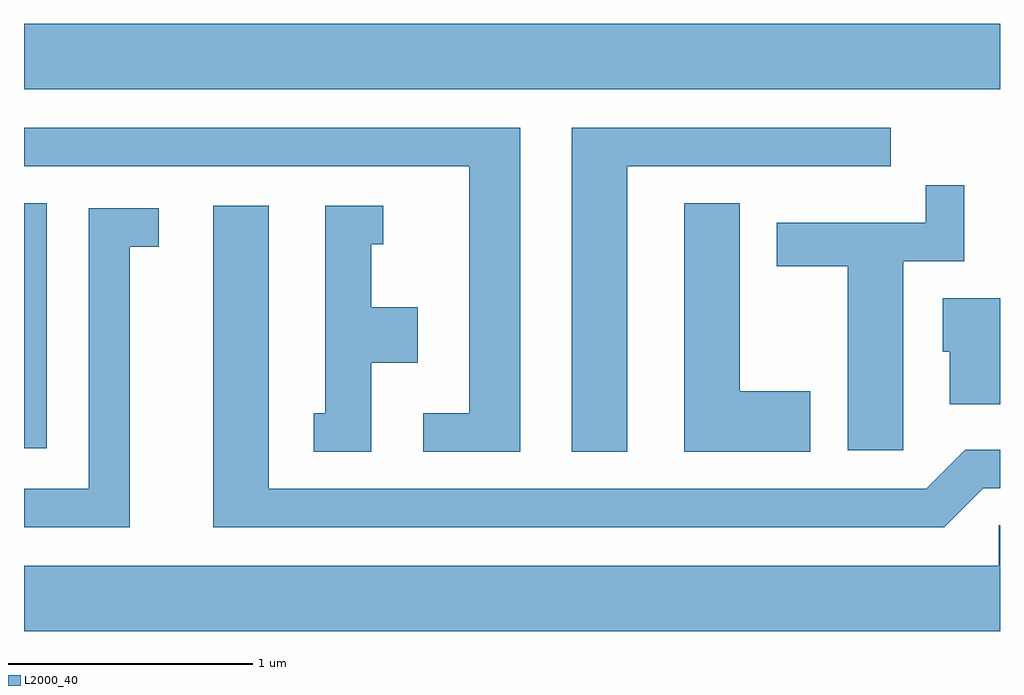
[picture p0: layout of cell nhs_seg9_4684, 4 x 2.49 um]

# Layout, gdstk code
import gdstk
lib = gdstk.Library(unit=1e-6, precision=1e-09)
def R(c, l, rs):  # rectangles x0, y0, x1, y1
    for r in rs: c.add(gdstk.rectangle(r[:2], r[2:], *l))
def P(c, l, *ps):  # polygons
    for p in ps: c.add(gdstk.Polygon(p, *l))
L2000_40 = (2000, 40)

nhs_seg9_4684 = lib.new_cell('nhs_seg9_4684')
R(nhs_seg9_4684, L2000_40, [(323.611,1981.466,323.704,1982.469), (323.611,1982.936,327.611,1983.204)])
P(nhs_seg9_4684, L2000_40, [(326.084,1982.621),(327.163,1982.621),(327.163,1982.779),(325.856,1982.779),(325.856,1981.451),(326.084,1981.451)],
  [(325.644,1982.779),(323.611,1982.779),(323.611,1982.621),(325.436,1982.621),(325.436,1981.609),(325.248,1981.609),(325.248,1981.451),(325.644,1981.451)],
  [(327.214,1982.231),(327.464,1982.231),(327.464,1982.543),(327.306,1982.543),(327.306,1982.389),(326.696,1982.389),(326.696,1982.211),(326.986,1982.211),(326.986,1981.456),(327.214,1981.456)],
  [(326.834,1981.699),(326.544,1981.699),(326.544,1982.469),(326.316,1982.469),(326.316,1981.451),(326.834,1981.451)],
  [(327.542,1981.301),(327.611,1981.301),(327.611,1981.459),(327.469,1981.459),(327.309,1981.299),(324.614,1981.299),(324.614,1982.459),(324.386,1982.459),(324.386,1981.141),(327.382,1981.141)],
  [(325.034,1981.816),(325.224,1981.816),(325.224,1982.044),(325.034,1982.044),(325.034,1982.301),(325.083,1982.301),(325.083,1982.459),(324.846,1982.459),(324.846,1981.609),(324.798,1981.609),(324.798,1981.451),(325.034,1981.451)],
  [(324.044,1982.291),(324.163,1982.291),(324.163,1982.449),(323.876,1982.449),(323.876,1981.299),(323.611,1981.299),(323.611,1981.141),(324.044,1981.141)],
  [(327.611,1982.079),(327.376,1982.079),(327.376,1981.861),(327.406,1981.861),(327.406,1981.646),(327.611,1981.646)],
  [(327.611,1981.149),(327.606,1981.149),(327.606,1980.984),(323.611,1980.984),(323.611,1980.716),(327.611,1980.716)])

lib.write_gds('nhs_seg9_4684.gds')
